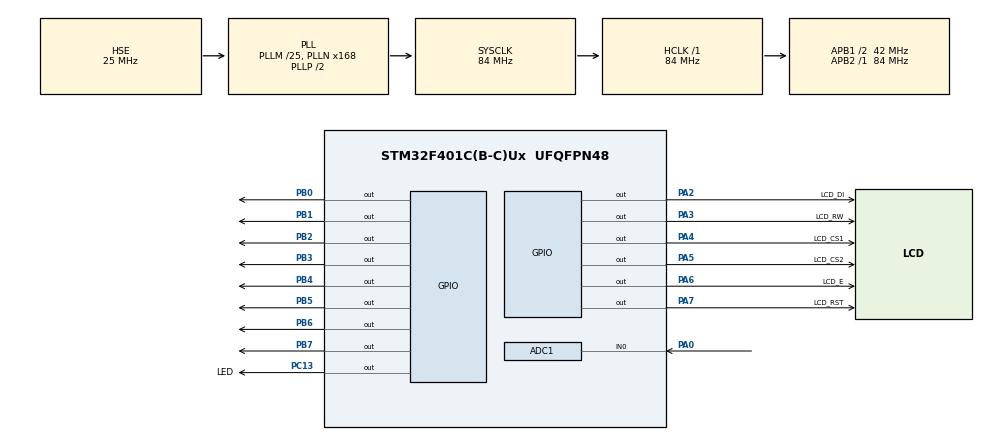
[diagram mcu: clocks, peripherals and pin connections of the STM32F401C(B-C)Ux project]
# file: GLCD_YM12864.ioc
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ADC1.Channel-0\#ChannelRegularConversion=ADC_CHANNEL_0
ADC1.ClockPrescaler=ADC_CLOCK_SYNC_PCLK_DIV8
ADC1.NbrOfConversionFlag=1
ADC1.Rank-0\#ChannelRegularConversion=1
ADC1.SamplingTime-0\#ChannelRegularConversion=ADC_SAMPLETIME_3CYCLES
ADC1.master=1
Mcu.Family=STM32F4
Mcu.Name=STM32F401C(B-C)Ux
Mcu.Package=UFQFPN48
NVIC.PriorityGroup=NVIC_PRIORITYGROUP_4
PA0-WKUP.Signal=ADCx_IN0
PA13.Mode=Serial_Wire
PA13.Signal=SYS_JTMS-SWDIO
PA14.Mode=Serial_Wire
PA14.Signal=SYS_JTCK-SWCLK
PA2.GPIO_Label=LCD_DI
PA2.GPIO_Speed=GPIO_SPEED_FREQ_VERY_HIGH
PA2.PinState=GPIO_PIN_SET
PA2.Signal=GPIO_Output
PA3.GPIO_Label=LCD_RW
PA3.GPIO_Speed=GPIO_SPEED_FREQ_VERY_HIGH
PA3.PinState=GPIO_PIN_SET
PA3.Signal=GPIO_Output
PA4.GPIO_Label=LCD_CS1
PA4.GPIO_Speed=GPIO_SPEED_FREQ_VERY_HIGH
PA4.PinState=GPIO_PIN_RESET
PA4.Signal=GPIO_Output
PA5.GPIO_Label=LCD_CS2
PA5.GPIO_Speed=GPIO_SPEED_FREQ_VERY_HIGH
PA5.PinState=GPIO_PIN_RESET
PA5.Signal=GPIO_Output
PA6.GPIO_Label=LCD_E
PA6.GPIO_Speed=GPIO_SPEED_FREQ_VERY_HIGH
PA6.PinState=GPIO_PIN_SET
PA6.Signal=GPIO_Output
PA7.GPIO_Label=LCD_RST
PA7.GPIO_Speed=GPIO_SPEED_FREQ_HIGH
PA7.PinState=GPIO_PIN_SET
PA7.Signal=GPIO_Output
PB0.GPIO_ModeDefaultOutputPP=GPIO_MODE_OUTPUT_PP
PB0.GPIO_PuPd=GPIO_NOPULL
PB0.GPIO_Speed=GPIO_SPEED_FREQ_VERY_HIGH
PB0.PinState=GPIO_PIN_SET
PB0.Signal=GPIO_Output
PB1.GPIO_ModeDefaultOutputPP=GPIO_MODE_OUTPUT_PP
PB1.GPIO_PuPd=GPIO_NOPULL
PB1.GPIO_Speed=GPIO_SPEED_FREQ_VERY_HIGH
PB1.PinState=GPIO_PIN_SET
PB1.Signal=GPIO_Output
PB2.GPIO_ModeDefaultOutputPP=GPIO_MODE_OUTPUT_PP
PB2.GPIO_PuPd=GPIO_NOPULL
PB2.GPIO_Speed=GPIO_SPEED_FREQ_VERY_HIGH
PB2.PinState=GPIO_PIN_SET
PB2.Signal=GPIO_Output
PB3.GPIO_ModeDefaultOutputPP=GPIO_MODE_OUTPUT_PP
PB3.GPIO_PuPd=GPIO_NOPULL
PB3.GPIO_Speed=GPIO_SPEED_FREQ_VERY_HIGH
PB3.PinState=GPIO_PIN_SET
PB3.Signal=GPIO_Output
PB4.GPIO_ModeDefaultOutputPP=GPIO_MODE_OUTPUT_PP
PB4.GPIO_PuPd=GPIO_NOPULL
PB4.GPIO_Speed=GPIO_SPEED_FREQ_VERY_HIGH
PB4.PinState=GPIO_PIN_SET
PB4.Signal=GPIO_Output
PB5.GPIO_ModeDefaultOutputPP=GPIO_MODE_OUTPUT_PP
PB5.GPIO_PuPd=GPIO_NOPULL
PB5.GPIO_Speed=GPIO_SPEED_FREQ_VERY_HIGH
PB5.PinState=GPIO_PIN_SET
PB5.Signal=GPIO_Output
PB6.GPIO_ModeDefaultOutputPP=GPIO_MODE_OUTPUT_PP
PB6.GPIO_PuPd=GPIO_NOPULL
PB6.GPIO_Speed=GPIO_SPEED_FREQ_VERY_HIGH
PB6.PinState=GPIO_PIN_SET
PB6.Signal=GPIO_Output
PB7.GPIO_ModeDefaultOutputPP=GPIO_MODE_OUTPUT_PP
PB7.GPIO_PuPd=GPIO_NOPULL
PB7.GPIO_Speed=GPIO_SPEED_FREQ_VERY_HIGH
PB7.PinState=GPIO_PIN_SET
PB7.Signal=GPIO_Output
PC13-ANTI_TAMP.GPIO_Label=LED
PC13-ANTI_TAMP.Signal=GPIO_Output
PH0\ -\ OSC_IN.Mode=HSE-External-Oscillator
PH0\ -\ OSC_IN.Signal=RCC_OSC_IN
PH1\ -\ OSC_OUT.Mode=HSE-External-Oscillator
PH1\ -\ OSC_OUT.Signal=RCC_OSC_OUT
ProjectManager.HeapSize=0x200
ProjectManager.StackSize=0x400
ProjectManager.TargetToolchain=STM32CubeIDE
RCC.48MHZClocksFreq_Value=42000000
RCC.AHBFreq_Value=84000000
RCC.APB1CLKDivider=RCC_HCLK_DIV2
RCC.APB1Freq_Value=42000000
RCC.APB1TimFreq_Value=84000000
RCC.APB2Freq_Value=84000000
RCC.APB2TimFreq_Value=84000000
RCC.CortexFreq_Value=84000000
RCC.HCLKFreq_Value=84000000
RCC.HSE_VALUE=25000000
RCC.HSI_VALUE=16000000
RCC.LSE_VALUE=32768
RCC.PLLM=25
RCC.PLLN=168
RCC.PLLSourceVirtual=RCC_PLLSOURCE_HSE
RCC.SYSCLKFreq_VALUE=84000000
RCC.SYSCLKSource=RCC_SYSCLKSOURCE_PLLCLK
RCC.VCOOutputFreq_Value=168000000
SH.ADCx_IN0.0=ADC1_IN0,IN0
TIM1.Prescaler=72-1
VP_TIM1_VS_ClockSourceINT.Mode=Internal
board=custom

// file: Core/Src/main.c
/* USER CODE BEGIN Header */
/**
  ******************************************************************************
  * @file           : main.c
  * @brief          : Main program body
  ******************************************************************************
  * @attention
  *
  * Copyright (c) 2023 STMicroelectronics.
  * All rights reserved.
  *
  * This software is licensed under terms that can be found in the LICENSE file
  * in the root directory of this software component.
  * If no LICENSE file comes with this software, it is provided AS-IS.
  *
  ******************************************************************************
  */
/* USER CODE END Header */
#include "main.h"

/* USER CODE BEGIN Includes */
#include "delay.h"
#include "glcd.h"
#include "glcd_tests.h"
/* USER CODE END Includes */

ADC_HandleTypeDef hadc1;

TIM_HandleTypeDef htim1;

/* USER CODE BEGIN PV */
uint8_t count_x = 0;
uint8_t count_y = 0;
uint8_t colr = WHITE;
/* USER CODE END PV */

void SystemClock_Config(void);
static void MX_GPIO_Init(void);
static void MX_ADC1_Init(void);
static void MX_TIM1_Init(void);
/* USER CODE BEGIN PFP */
void test_lcd(void);
/* USER CODE END PFP */

int main(void)
{

  /* MCU Configuration--------------------------------------------------------*/

  /* Reset of all peripherals, Initializes the Flash interface and the Systick. */
  HAL_Init();

  /* Configure the system clock */
  SystemClock_Config();

  /* Initialize all configured peripherals */
  MX_GPIO_Init();
  MX_ADC1_Init();
  MX_TIM1_Init();
  /* USER CODE BEGIN 2 */
  delay_init ();
  glcd_init();

  glcd_Fill(BLACK);
  glcd_UpdateScreen();
  //glcd_SetCursor(0, 0);
  //glcd_WriteString("A", Font_7x10, WHITE);

  test_lcd();
  HAL_Delay(1000);
  //glcd_Fill(BLACK);
  /* USER CODE END 2 */

  /* Infinite loop */
  while (1)
  {

    /* USER CODE BEGIN 3 */
	glcd_TestAll();
	HAL_GPIO_TogglePin(LED_GPIO_Port, LED_Pin);
	HAL_Delay(100);
/*
	glcd_DrawPixel(count_x, count_y, colr);
	glcd_UpdateScreen();
	  count_y++;
	  if(count_y > LCD_HEIGHT){
		  count_y = 0;
		  count_x++;
		  if (count_x > LCD_WIDTH){
			  count_x = 0;
			  if(colr == WHITE){
				  colr = BLACK;
			  } else {
				  colr = WHITE;
			  }
		  }
	  }
	*/
  }
  /* USER CODE END 3 */
}

void SystemClock_Config(void)
{
  RCC_OscInitTypeDef RCC_OscInitStruct = {0};
  RCC_ClkInitTypeDef RCC_ClkInitStruct = {0};

  /** Configure the main internal regulator output voltage
  */
  __HAL_RCC_PWR_CLK_ENABLE();
  __HAL_PWR_VOLTAGESCALING_CONFIG(PWR_REGULATOR_VOLTAGE_SCALE2);

  /** Initializes the RCC Oscillators according to the specified parameters
  * in the RCC_OscInitTypeDef structure.
  */
  RCC_OscInitStruct.OscillatorType = RCC_OSCILLATORTYPE_HSE;
  RCC_OscInitStruct.HSEState = RCC_HSE_ON;
  RCC_OscInitStruct.PLL.PLLState = RCC_PLL_ON;
  RCC_OscInitStruct.PLL.PLLSource = RCC_PLLSOURCE_HSE;
  RCC_OscInitStruct.PLL.PLLM = 25;
  RCC_OscInitStruct.PLL.PLLN = 168;
  RCC_OscInitStruct.PLL.PLLP = RCC_PLLP_DIV2;
  RCC_OscInitStruct.PLL.PLLQ = 4;
  if (HAL_RCC_OscConfig(&RCC_OscInitStruct) != HAL_OK)
  {
    Error_Handler();
  }

  /** Initializes the CPU, AHB and APB buses clocks
  */
  RCC_ClkInitStruct.ClockType = RCC_CLOCKTYPE_HCLK|RCC_CLOCKTYPE_SYSCLK
                              |RCC_CLOCKTYPE_PCLK1|RCC_CLOCKTYPE_PCLK2;
  RCC_ClkInitStruct.SYSCLKSource = RCC_SYSCLKSOURCE_PLLCLK;
  RCC_ClkInitStruct.AHBCLKDivider = RCC_SYSCLK_DIV1;
  RCC_ClkInitStruct.APB1CLKDivider = RCC_HCLK_DIV2;
  RCC_ClkInitStruct.APB2CLKDivider = RCC_HCLK_DIV1;

  if (HAL_RCC_ClockConfig(&RCC_ClkInitStruct, FLASH_LATENCY_2) != HAL_OK)
  {
    Error_Handler();
  }
}

static void MX_ADC1_Init(void)
{

  ADC_ChannelConfTypeDef sConfig = {0};

  /** Configure the global features of the ADC (Clock, Resolution, Data Alignment and number of conversion)
  */
  hadc1.Instance = ADC1;
  hadc1.Init.ClockPrescaler = ADC_CLOCK_SYNC_PCLK_DIV8;
  hadc1.Init.Resolution = ADC_RESOLUTION_12B;
  hadc1.Init.ScanConvMode = DISABLE;
  hadc1.Init.ContinuousConvMode = DISABLE;
  hadc1.Init.DiscontinuousConvMode = DISABLE;
  hadc1.Init.ExternalTrigConvEdge = ADC_EXTERNALTRIGCONVEDGE_NONE;
  hadc1.Init.ExternalTrigConv = ADC_SOFTWARE_START;
  hadc1.Init.DataAlign = ADC_DATAALIGN_RIGHT;
  hadc1.Init.NbrOfConversion = 1;
  hadc1.Init.DMAContinuousRequests = DISABLE;
  hadc1.Init.EOCSelection = ADC_EOC_SINGLE_CONV;
  if (HAL_ADC_Init(&hadc1) != HAL_OK)
  {
    Error_Handler();
  }

  /** Configure for the selected ADC regular channel its corresponding rank in the sequencer and its sample time.
  */
  sConfig.Channel = ADC_CHANNEL_0;
  sConfig.Rank = 1;
  sConfig.SamplingTime = ADC_SAMPLETIME_3CYCLES;
  if (HAL_ADC_ConfigChannel(&hadc1, &sConfig) != HAL_OK)
  {
    Error_Handler();
  }

}

static void MX_TIM1_Init(void)
{

  TIM_ClockConfigTypeDef sClockSourceConfig = {0};
  TIM_MasterConfigTypeDef sMasterConfig = {0};

  htim1.Instance = TIM1;
  htim1.Init.Prescaler = 72-1;
  htim1.Init.CounterMode = TIM_COUNTERMODE_UP;
  htim1.Init.Period = 65535;
  htim1.Init.ClockDivision = TIM_CLOCKDIVISION_DIV1;
  htim1.Init.RepetitionCounter = 0;
  htim1.Init.AutoReloadPreload = TIM_AUTORELOAD_PRELOAD_DISABLE;
  if (HAL_TIM_Base_Init(&htim1) != HAL_OK)
  {
    Error_Handler();
  }
  sClockSourceConfig.ClockSource = TIM_CLOCKSOURCE_INTERNAL;
  if (HAL_TIM_ConfigClockSource(&htim1, &sClockSourceConfig) != HAL_OK)
  {
    Error_Handler();
  }
  sMasterConfig.MasterOutputTrigger = TIM_TRGO_RESET;
  sMasterConfig.MasterSlaveMode = TIM_MASTERSLAVEMODE_DISABLE;
  if (HAL_TIMEx_MasterConfigSynchronization(&htim1, &sMasterConfig) != HAL_OK)
  {
    Error_Handler();
  }

}

static void MX_GPIO_Init(void)
{
  GPIO_InitTypeDef GPIO_InitStruct = {0};

  /* GPIO Ports Clock Enable */
  __HAL_RCC_GPIOC_CLK_ENABLE();
  __HAL_RCC_GPIOH_CLK_ENABLE();
  __HAL_RCC_GPIOA_CLK_ENABLE();
  __HAL_RCC_GPIOB_CLK_ENABLE();

  /*Configure GPIO pin Output Level */
  HAL_GPIO_WritePin(LED_GPIO_Port, LED_Pin, GPIO_PIN_RESET);

  /*Configure GPIO pin Output Level */
  HAL_GPIO_WritePin(GPIOA, LCD_DI_Pin|LCD_RW_Pin|LCD_E_Pin|LCD_RST_Pin, GPIO_PIN_SET);

  /*Configure GPIO pin Output Level */
  HAL_GPIO_WritePin(GPIOA, LCD_CS1_Pin|LCD_CS2_Pin, GPIO_PIN_RESET);

  /*Configure GPIO pin Output Level */
  HAL_GPIO_WritePin(GPIOB, GPIO_PIN_0|GPIO_PIN_1|GPIO_PIN_2|GPIO_PIN_3
                          |GPIO_PIN_4|GPIO_PIN_5|GPIO_PIN_6|GPIO_PIN_7, GPIO_PIN_SET);

  /*Configure GPIO pin : LED_Pin */
  GPIO_InitStruct.Pin = LED_Pin;
  GPIO_InitStruct.Mode = GPIO_MODE_OUTPUT_PP;
  GPIO_InitStruct.Pull = GPIO_NOPULL;
  GPIO_InitStruct.Speed = GPIO_SPEED_FREQ_LOW;
  HAL_GPIO_Init(LED_GPIO_Port, &GPIO_InitStruct);

  /*Configure GPIO pins : LCD_DI_Pin LCD_RW_Pin LCD_CS1_Pin LCD_CS2_Pin
                           LCD_E_Pin */
  GPIO_InitStruct.Pin = LCD_DI_Pin|LCD_RW_Pin|LCD_CS1_Pin|LCD_CS2_Pin
                          |LCD_E_Pin;
  GPIO_InitStruct.Mode = GPIO_MODE_OUTPUT_PP;
  GPIO_InitStruct.Pull = GPIO_NOPULL;
  GPIO_InitStruct.Speed = GPIO_SPEED_FREQ_VERY_HIGH;
  HAL_GPIO_Init(GPIOA, &GPIO_InitStruct);

  /*Configure GPIO pin : LCD_RST_Pin */
  GPIO_InitStruct.Pin = LCD_RST_Pin;
  GPIO_InitStruct.Mode = GPIO_MODE_OUTPUT_PP;
  GPIO_InitStruct.Pull = GPIO_NOPULL;
  GPIO_InitStruct.Speed = GPIO_SPEED_FREQ_HIGH;
  HAL_GPIO_Init(LCD_RST_GPIO_Port, &GPIO_InitStruct);

  /*Configure GPIO pins : PB0 PB1 PB2 PB3
                           PB4 PB5 PB6 PB7 */
  GPIO_InitStruct.Pin = GPIO_PIN_0|GPIO_PIN_1|GPIO_PIN_2|GPIO_PIN_3
                          |GPIO_PIN_4|GPIO_PIN_5|GPIO_PIN_6|GPIO_PIN_7;
  GPIO_InitStruct.Mode = GPIO_MODE_OUTPUT_PP;
  GPIO_InitStruct.Pull = GPIO_NOPULL;
  GPIO_InitStruct.Speed = GPIO_SPEED_FREQ_VERY_HIGH;
  HAL_GPIO_Init(GPIOB, &GPIO_InitStruct);

}

/* USER CODE BEGIN 4 */
void test_lcd(void){
	glcd_SetCursor(10, 30);
	uint8_t counter=0;
	/*
	for(counter = 32; counter<110; counter++){
		glcd_WriteChar(counter, Font_8x5, WHITE);
		glcd_UpdateScreen();
	}
*/
	glcd_WriteString("0123456789", Font_8x5, WHITE);
	glcd_UpdateScreen();
	//HAL_Delay(4000);

}
/* USER CODE END 4 */

void Error_Handler(void)
{
  __disable_irq();
  while (1)
  {
  }
}
